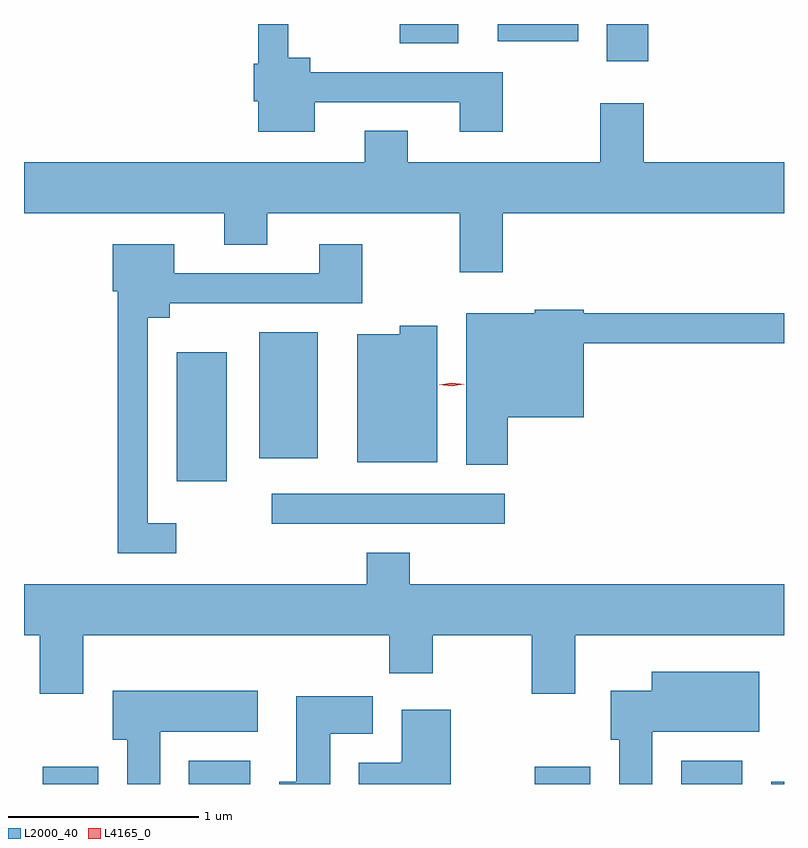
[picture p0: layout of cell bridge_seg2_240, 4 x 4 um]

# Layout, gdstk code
import gdstk
lib = gdstk.Library(unit=1e-6, precision=1e-09)
def R(c, l, rs):  # rectangles x0, y0, x1, y1
    for r in rs: c.add(gdstk.rectangle(r[:2], r[2:], *l))
def P(c, l, *ps):  # polygons
    for p in ps: c.add(gdstk.Polygon(p, *l))
L2000_40 = (2000, 40)
L4165_0 = (4165, 0)

bridge_seg2_240 = lib.new_cell('bridge_seg2_240')
R(bridge_seg2_240, L2000_40, [(483.516,1080.832,483.809,1080.924), (484.286,1080.832,484.609,1080.954), (486.106,1080.832,486.399,1080.924), (486.876,1080.832,487.199,1080.954), (487.351,1080.832,487.418,1080.844), (484.723,1082.201,485.948,1082.359), (484.221,1082.426,484.484,1083.104), (484.656,1082.546,484.964,1083.209), (486.486,1084.636,486.704,1084.832), (485.396,1084.731,485.704,1084.832), (485.911,1084.741,486.334,1084.832)])
P(bridge_seg2_240, L2000_40, [(484.949,1084.421),(485.711,1084.421),(485.711,1084.266),(485.939,1084.266),(485.939,1084.579),(484.924,1084.579),(484.924,1084.654),(484.809,1084.654),(484.809,1084.832),(484.651,1084.832),(484.651,1084.624),(484.626,1084.624),(484.626,1084.426),(484.651,1084.426),(484.651,1084.266),(484.949,1084.266)],
  [(485.939,1083.836),(487.418,1083.836),(487.418,1084.104),(486.679,1084.104),(486.679,1084.414),(486.451,1084.414),(486.451,1084.104),(485.439,1084.104),(485.439,1084.269),(485.211,1084.269),(485.211,1084.104),(483.418,1084.104),(483.418,1083.836),(484.471,1083.836),(484.471,1083.671),(484.699,1083.671),(484.699,1083.836),(485.711,1083.836),(485.711,1083.526),(485.939,1083.526)],
  [(484.218,1082.204),(484.069,1082.204),(484.069,1083.286),(484.184,1083.286),(484.184,1083.361),(485.199,1083.361),(485.199,1083.674),(484.971,1083.674),(484.971,1083.519),(484.209,1083.519),(484.209,1083.674),(483.886,1083.674),(483.886,1083.426),(483.911,1083.426),(483.911,1082.046),(484.218,1082.046)],
  [(485.964,1082.761),(486.364,1082.761),(486.364,1083.151),(487.418,1083.151),(487.418,1083.309),(486.364,1083.309),(486.364,1083.329),(486.106,1083.329),(486.106,1083.309),(485.746,1083.309),(485.746,1082.511),(485.964,1082.511)],
  [(485.594,1083.244),(485.396,1083.244),(485.396,1083.199),(485.171,1083.199),(485.171,1082.526),(485.594,1082.526)],
  [(483.729,1081.616),(485.341,1081.616),(485.341,1081.416),(485.569,1081.416),(485.569,1081.616),(486.091,1081.616),(486.091,1081.306),(486.319,1081.306),(486.319,1081.616),(487.418,1081.616),(487.418,1081.884),(485.449,1081.884),(485.449,1082.049),(485.221,1082.049),(485.221,1081.884),(483.418,1081.884),(483.418,1081.616),(483.501,1081.616),(483.501,1081.306),(483.729,1081.306)],
  [(486.724,1081.106),(487.289,1081.106),(487.289,1081.424),(486.721,1081.424),(486.721,1081.324),(486.506,1081.324),(486.506,1081.066),(486.551,1081.066),(486.551,1080.832),(486.724,1080.832)],
  [(484.134,1081.106),(484.649,1081.106),(484.649,1081.324),(483.886,1081.324),(483.886,1081.066),(483.961,1081.066),(483.961,1080.832),(484.134,1080.832)],
  [(485.029,1081.096),(485.254,1081.096),(485.254,1081.294),(484.851,1081.294),(484.851,1080.844),(484.761,1080.844),(484.761,1080.832),(485.029,1080.832)],
  [(485.664,1081.224),(485.406,1081.224),(485.406,1080.95),(485.4,1080.95),(485.4,1080.944),(485.181,1080.944),(485.181,1080.832),(485.664,1080.832)])
P(bridge_seg2_240, L4165_0, [(485.67,1082.925),(485.604,1082.933),(485.604,1082.934),(485.604,1082.934),(485.67,1082.945),(485.736,1082.936),(485.736,1082.936),(485.736,1082.936)])

lib.write_gds('bridge_seg2_240.gds')
